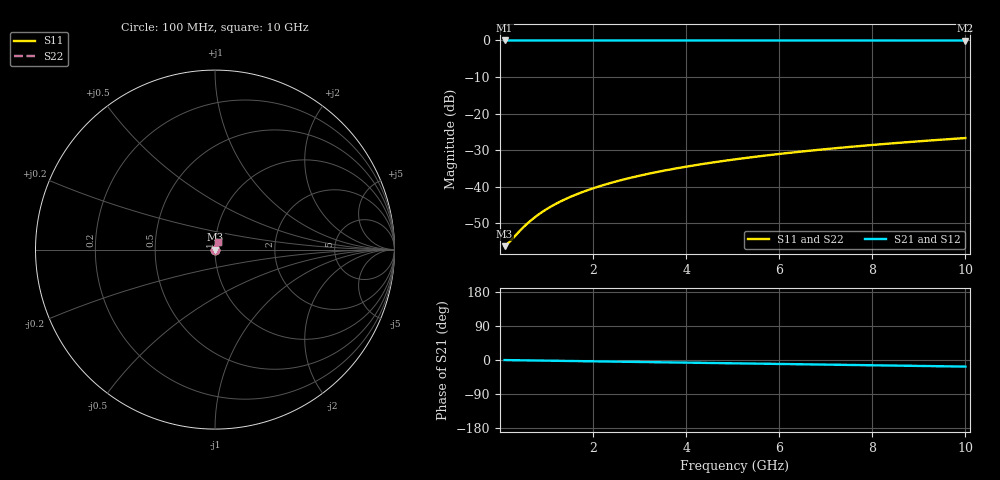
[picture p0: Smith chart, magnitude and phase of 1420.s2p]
# Hz S RI R 50.00
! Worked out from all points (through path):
!   100 points, 100 MHz to 10 GHz, reference 50 ohm
!   highest |S21| = -0.01 dB at 100 MHz (marker M1); lowest = 0.0 dB at 10 GHz (marker M2)
!   group delay of S21, straight-line fit = 4.83 ps
!   lowest |S11| = -56.2 dB at 100 MHz (marker M3), VSWR 1.00, Z = 50.1 + j0.0468 ohm
!   |S11| at or under -10 dB: start of sweep to end of sweep
!   |S22| runs from -56.2 to -26.7 dB; largest |S21 - S12| = 1e-12
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1e8  0.00147 0.000467  0.9985 -0.00302  0.9985 -0.00302  0.00147 0.000467
2e8  0.00149 0.000933  0.9985 -0.00604  0.9985 -0.00604  0.00149 0.000933
4e8  0.00151 0.00187  0.9984 -0.0121  0.9984 -0.0121  0.00151 0.00187
5e8  0.00153 0.00233  0.9984 -0.0151  0.9984 -0.0151  0.00153 0.00233
6e8  0.00155 0.0028  0.9983 -0.0181  0.9983 -0.0181  0.00155 0.0028
7e8  0.00157 0.00326  0.9983 -0.0211  0.9983 -0.0211  0.00157 0.00326
9e8  0.00162 0.00419  0.9981 -0.0272  0.9981 -0.0272  0.00162 0.00419
1.1e9  0.00168 0.00513  0.9979 -0.0332  0.9979 -0.0332  0.00168 0.00513
1.3e9  0.00175 0.00606  0.9977 -0.0392  0.9977 -0.0392  0.00175 0.00606
1.5e9  0.00183 0.00698  0.9974 -0.0453  0.9974 -0.0453  0.00183 0.00698
1.8e9  0.00198 0.00837  0.9969 -0.0543  0.9969 -0.0543  0.00198 0.00837
2.1e9  0.00215 0.00976  0.9964 -0.0634  0.9964 -0.0634  0.00215 0.00976
2.5e9  0.00241 0.0116  0.9955 -0.0754  0.9955 -0.0754  0.00241 0.0116
2.9e9  0.00272 0.0134  0.9945 -0.0875  0.9945 -0.0875  0.00272 0.0134
3.4e9  0.00316 0.0157  0.993 -0.1025  0.993 -0.1025  0.00316 0.0157
4.2e9  0.00402 0.0193  0.9901 -0.1266  0.9901 -0.1266  0.00402 0.0193
5.1e9  0.00519 0.0234  0.9862 -0.1535  0.9862 -0.1535  0.00519 0.0234
5.9e9  0.00642 0.0269  0.982 -0.1774  0.982 -0.1774  0.00642 0.0269
6.7e9  0.00782 0.0303  0.9773 -0.2012  0.9773 -0.2012  0.00782 0.0303
7.5e9  0.00938 0.0337  0.972 -0.2249  0.972 -0.2249  0.00938 0.0337
8.4e9  0.0113 0.0374  0.9653 -0.2514  0.9653 -0.2514  0.0113 0.0374
1e10  0.0153 0.0438  0.9515 -0.2981  0.9515 -0.2981  0.0153 0.0438
